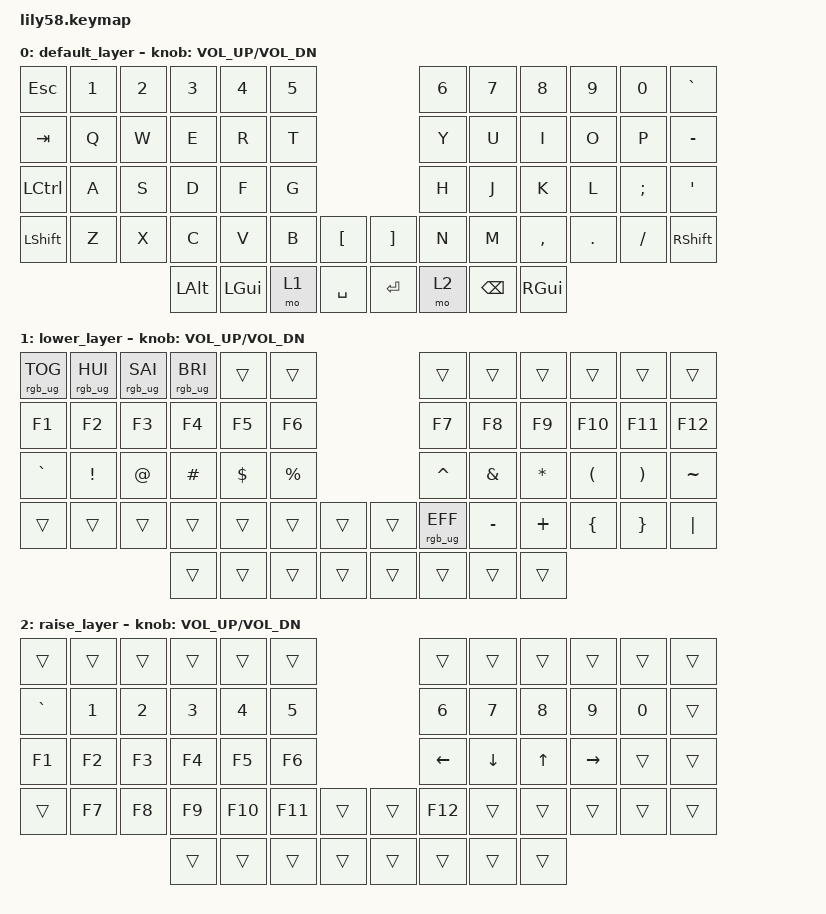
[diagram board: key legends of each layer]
/*
 * Copyright (c) 2020 The ZMK Contributors
 *
 * SPDX-License-Identifier: MIT
 */

#include <behaviors.dtsi>
#include <dt-bindings/zmk/keys.h>
#include <dt-bindings/zmk/bt.h>
#include <dt-bindings/zmk/ext_power.h>
#include <dt-bindings/zmk/rgb.h>

/ {
    keymap {
        compatible = "zmk,keymap";

        default_layer {
// ------------------------------------------------------------------------------------------------------------
// |  ESC  |  1  |  2  |  3   |  4   |  5   |                   |  6   |  7    |  8    |  9   |   0   |   `   |
// |  TAB  |  Q  |  W  |  E   |  R   |  T   |                   |  Y   |  U    |  I    |  O   |   P   |   -   |
// |  CTRL |  A  |  S  |  D   |  F   |  G   |                   |  H   |  J    |  K    |  L   |   ;   |   '   |
// | SHIFT |  Z  |  X  |  C   |  V   |  B   |   "["  |  |  "]"  |  N   |  M    |  ,    |  .   |   /   | SHIFT |
//                     | ALT  | GUI  | LOWER|  SPACE |  | ENTER | RAISE| BSPC  | GUI   |
            bindings = <
&kp ESC   &kp N1 &kp N2 &kp N3   &kp N4   &kp N5                     &kp N6 &kp N7   &kp N8    &kp N9  &kp N0   &kp GRAVE
&kp TAB   &kp Q  &kp W  &kp E    &kp R    &kp T                      &kp Y  &kp U    &kp I     &kp O   &kp P    &kp MINUS
&kp LCTRL &kp A  &kp S  &kp D    &kp F    &kp G                      &kp H  &kp J    &kp K     &kp L   &kp SEMI &kp SQT
&kp LSHFT &kp Z  &kp X  &kp C    &kp V    &kp B  &kp LBKT   &kp RBKT &kp N  &kp M    &kp COMMA &kp DOT &kp FSLH &kp RSHFT
                        &kp LALT &kp LGUI &mo 1  &kp SPACE  &kp RET  &mo 2  &kp BSPC &kp RGUI
            >;

            sensor-bindings = <&inc_dec_kp C_VOL_UP C_VOL_DN>;
        };

        lower_layer {
// ------------------------------------------------------------------------------------------------------------
// |RGB_T | RGB_H+| RGB_S+| RGB_B+|      |      |                   |      |       |       |      |       |       |
// |  F1   |  F2 |  F3 |  F4  |  F5  |  F6  |                   |  F7  |  F8   |  F9   |  F10 |  F11  |  F12  |
// |   `   |  !  |  @  |  #   |  $   |  %   |                   |  ^   |  &    |  *    |  (   |   )   |   ~   |
// |       |     |     |      |      |      |        |  |       |RGB_EFF|  _    |  +    |  {   |   }   |  "|"  |
//                     |      |      |      |        |  |       |      |       |       |
            bindings = <
&rgb_ug RGB_TOG &rgb_ug RGB_HUI &rgb_ug RGB_SAI &rgb_ug RGB_BRI &trans       &trans                       &trans       &trans       &trans       &trans   &trans   &trans
&kp F1     &kp F2           &kp F3            &kp F4            &kp F5       &kp F6                       &kp F7       &kp F8       &kp F9       &kp F10  &kp F11  &kp F12
&kp GRAVE  &kp EXCL         &kp AT            &kp HASH          &kp DOLLAR   &kp PRCNT                    &kp CARET    &kp AMPS     &kp ASTRK    &kp LPAR &kp RPAR &kp TILDE
&trans     &trans           &trans            &trans            &trans       &trans    &trans   &trans    &rgb_ug RGB_EFF &kp MINUS    &kp PLUS     &kp LBRC &kp RBRC &kp PIPE
                                              &trans            &trans       &trans    &trans   &trans    &trans       &trans       &trans
            >;

            sensor-bindings = <&inc_dec_kp C_VOL_UP C_VOL_DN>;
        };

        raise_layer {
// ------------------------------------------------------------------------------------------------------------
// |       |     |     |      |      |      |                   |      |       |       |      |       |       |
// |   `   |  1  |  2  |  3   |  4   |  5   |                   |  6   |   7   |   8   |  9   |   0   |       |
// |   F1  |  F2 |  F3 |  F4  |  F5  |  F6  |                   | LEFT | DOWN  |  UP   | RIGHT|       |       |
// |       |  F7 |  F8 |  F9  | F10  | F11  |        |  |       | F12  |       |       |      |       |       |
//                     |      |      |      |        |  |       |      |       |       |
            bindings = <
&trans    &trans &trans &trans  &trans &trans                       &trans   &trans   &trans    &trans   &trans   &trans
&kp GRAVE &kp N1 &kp N2 &kp N3 &kp N4 &kp N5                       &kp N6   &kp N7   &kp N8    &kp N9   &kp N0   &trans
&kp F1    &kp F2 &kp F3 &kp F4 &kp F5 &kp F6                       &kp LEFT &kp DOWN &kp UP    &kp RIGHT &trans  &trans
&trans    &kp F7 &kp F8 &kp F9 &kp F10 &kp F11  &trans   &trans    &kp F12  &trans   &trans    &trans   &trans   &trans
                        &trans &trans &trans    &trans   &trans    &trans   &trans   &trans
            >;

            sensor-bindings = <&inc_dec_kp C_VOL_UP C_VOL_DN>;
        };
    };
};
